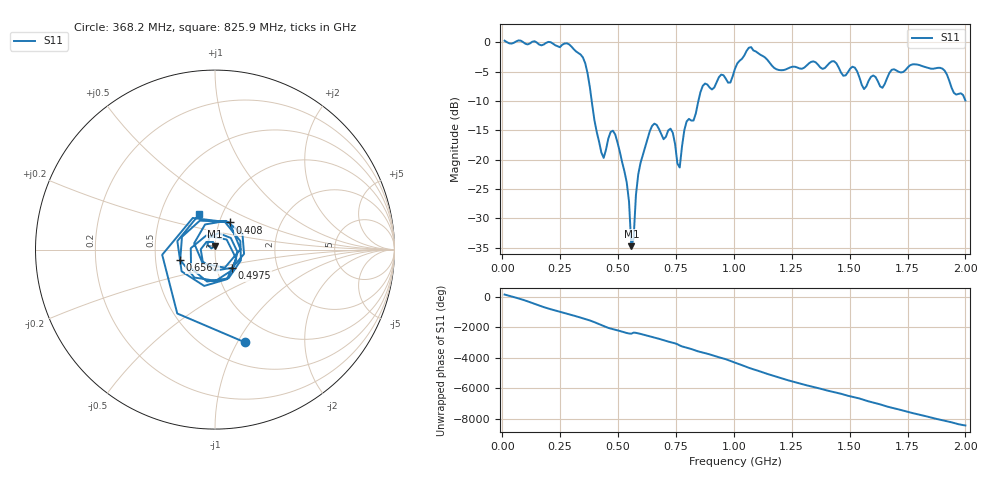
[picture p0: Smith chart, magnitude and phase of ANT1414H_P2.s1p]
!Created with skrf (http://scikit-rf.org).
# Hz S RI R 50.0
!freq ReS11 ImS11
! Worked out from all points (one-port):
!   201 points, 10 MHz to 2 GHz, reference 50 ohm
!   lowest |S11| = -34.8 dB at 557.2 MHz (marker M1), VSWR 1.04, Z = 49.9 + j1.83 ohm
!   |S11| at or under -10 dB: 386.1 MHz to 846.9 MHz (460.8 MHz wide, 74.7 % of centre)
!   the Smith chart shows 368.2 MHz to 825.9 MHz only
!   S11 on the Smith chart (normalised r, x): 368.2 MHz: 0.73, -1.08; 408 MHz: 1.12, +0.35; 497.6 MHz: 1.18, -0.25; 656.8 MHz: 0.67, -0.08; 825.9 MHz: 0.78, +0.32
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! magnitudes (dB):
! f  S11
! 10 MHz  0.2
! 258.8 MHz  -0.4
! 368.2 MHz  -5.3
! 408 MHz  -15.3
! 437.9 MHz  -19.7
! 467.7 MHz  -15.3
! 497.6 MHz  -17.1
! 507.5 MHz  -18.7
! 537.4 MHz  -23.9
! 547.3 MHz  -27.2
! 557.2 MHz  -34.8
! 567.2 MHz  -33.4
! 587.1 MHz  -22.5
! 656.8 MHz  -13.9
! 726.4 MHz  -14.7
! 756.2 MHz  -20.7
! 766.2 MHz  -21.3
! 796 MHz  -13.5
! 825.9 MHz  -13.3
! 865.7 MHz  -7.5
! 1.005 GHz  -4.5
! 1.075 GHz  -0.8
! 1.254 GHz  -4.2
! 1.502 GHz  -4.5
! 1.562 GHz  -8.0
! 1.751 GHz  -4.3
! 1.901 GHz  -4.5
! 2 GHz  -9.9
